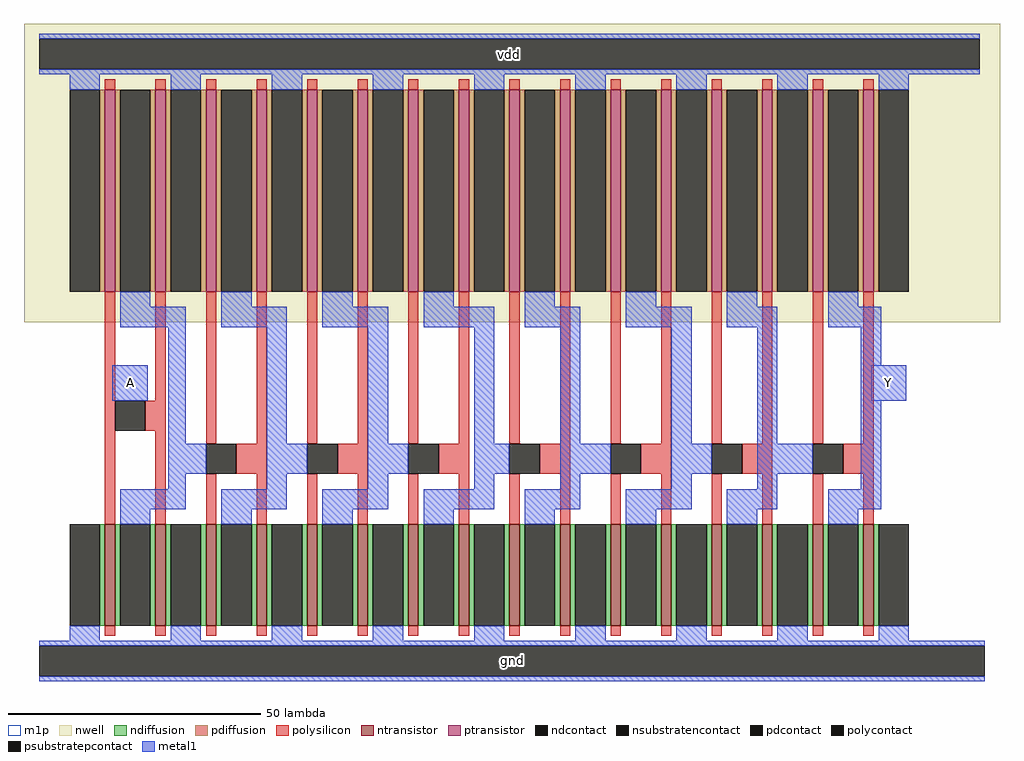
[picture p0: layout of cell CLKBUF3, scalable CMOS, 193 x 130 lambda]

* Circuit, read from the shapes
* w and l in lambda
.subckt CLKBUF3 A Y vdd gnd
M1 n1 A gnd gnd nfet w=20 l=2 m=2
M2 n2 n1 gnd gnd nfet w=20 l=2 m=2
M3 n3 n2 gnd gnd nfet w=20 l=2 m=2
M4 n4 n3 gnd gnd nfet w=20 l=2 m=2
M5 n5 n4 gnd gnd nfet w=20 l=2 m=2
M6 n6 n5 gnd gnd nfet w=20 l=2 m=2
M7 n7 n6 gnd gnd nfet w=20 l=2 m=2
M8 Y n7 gnd gnd nfet w=20 l=2 m=2
M9 n1 A vdd vdd pfet w=40 l=2 m=2
M10 n2 n1 vdd vdd pfet w=40 l=2 m=2
M11 n3 n2 vdd vdd pfet w=40 l=2 m=2
M12 n4 n3 vdd vdd pfet w=40 l=2 m=2
M13 n5 n4 vdd vdd pfet w=40 l=2 m=2
M14 n6 n5 vdd vdd pfet w=40 l=2 m=2
M15 n7 n6 vdd vdd pfet w=40 l=2 m=2
M16 Y n7 vdd vdd pfet w=40 l=2 m=2
.ends

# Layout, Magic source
magic
tech scmos
magscale 1 2
<< nwell >>
rect -12 134 374 252
<< ntransistor >>
rect 20 14 24 54
rect 40 14 44 54
rect 60 14 64 54
rect 80 14 84 54
rect 100 14 104 54
rect 120 14 124 54
rect 140 14 144 54
rect 160 14 164 54
rect 180 14 184 54
rect 200 14 204 54
rect 220 14 224 54
rect 240 14 244 54
rect 260 14 264 54
rect 280 14 284 54
rect 300 14 304 54
rect 320 14 324 54
<< ptransistor >>
rect 20 146 24 226
rect 40 146 44 226
rect 60 146 64 226
rect 80 146 84 226
rect 100 146 104 226
rect 120 146 124 226
rect 140 146 144 226
rect 160 146 164 226
rect 180 146 184 226
rect 200 146 204 226
rect 220 146 224 226
rect 240 146 244 226
rect 260 146 264 226
rect 280 146 284 226
rect 300 146 304 226
rect 320 146 324 226
<< ndiffusion >>
rect 18 14 20 54
rect 24 14 26 54
rect 38 14 40 54
rect 44 14 46 54
rect 58 14 60 54
rect 64 14 66 54
rect 78 14 80 54
rect 84 14 86 54
rect 98 14 100 54
rect 104 14 106 54
rect 118 14 120 54
rect 124 14 126 54
rect 138 14 140 54
rect 144 14 146 54
rect 158 14 160 54
rect 164 14 166 54
rect 178 14 180 54
rect 184 14 186 54
rect 198 14 200 54
rect 204 14 206 54
rect 218 14 220 54
rect 224 14 226 54
rect 238 14 240 54
rect 244 14 246 54
rect 258 14 260 54
rect 264 14 266 54
rect 278 14 280 54
rect 284 14 286 54
rect 298 14 300 54
rect 304 14 306 54
rect 318 14 320 54
rect 324 14 326 54
<< pdiffusion >>
rect 18 146 20 226
rect 24 146 26 226
rect 38 146 40 226
rect 44 146 46 226
rect 58 146 60 226
rect 64 146 66 226
rect 78 146 80 226
rect 84 146 86 226
rect 98 146 100 226
rect 104 146 106 226
rect 118 146 120 226
rect 124 146 126 226
rect 138 146 140 226
rect 144 146 146 226
rect 158 146 160 226
rect 164 146 166 226
rect 178 146 180 226
rect 184 146 186 226
rect 198 146 200 226
rect 204 146 206 226
rect 218 146 220 226
rect 224 146 226 226
rect 238 146 240 226
rect 244 146 246 226
rect 258 146 260 226
rect 264 146 266 226
rect 278 146 280 226
rect 284 146 286 226
rect 298 146 300 226
rect 304 146 306 226
rect 318 146 320 226
rect 324 146 326 226
<< ndcontact >>
rect 6 14 18 54
rect 26 14 38 54
rect 46 14 58 54
rect 66 14 78 54
rect 86 14 98 54
rect 106 14 118 54
rect 126 14 138 54
rect 146 14 158 54
rect 166 14 178 54
rect 186 14 198 54
rect 206 14 218 54
rect 226 14 238 54
rect 246 14 258 54
rect 266 14 278 54
rect 286 14 298 54
rect 306 14 318 54
rect 326 14 338 54
<< pdcontact >>
rect 6 146 18 226
rect 26 146 38 226
rect 46 146 58 226
rect 66 146 78 226
rect 86 146 98 226
rect 106 146 118 226
rect 126 146 138 226
rect 146 146 158 226
rect 166 146 178 226
rect 186 146 198 226
rect 206 146 218 226
rect 226 146 238 226
rect 246 146 258 226
rect 266 146 278 226
rect 286 146 298 226
rect 306 146 318 226
rect 326 146 338 226
<< psubstratepcontact >>
rect -6 -6 368 6
<< nsubstratencontact >>
rect -6 234 366 246
<< polysilicon >>
rect 20 226 24 230
rect 40 226 44 230
rect 60 226 64 230
rect 80 226 84 230
rect 100 226 104 230
rect 120 226 124 230
rect 140 226 144 230
rect 160 226 164 230
rect 180 226 184 230
rect 200 226 204 230
rect 220 226 224 230
rect 240 226 244 230
rect 260 226 264 230
rect 280 226 284 230
rect 300 226 304 230
rect 320 226 324 230
rect 20 54 24 146
rect 40 103 44 146
rect 36 91 44 103
rect 40 54 44 91
rect 60 86 64 146
rect 80 86 84 146
rect 72 74 84 86
rect 60 54 64 74
rect 80 54 84 74
rect 100 86 104 146
rect 120 86 124 146
rect 112 74 124 86
rect 100 54 104 74
rect 120 54 124 74
rect 140 86 144 146
rect 160 86 164 146
rect 152 74 164 86
rect 140 54 144 74
rect 160 54 164 74
rect 180 86 184 146
rect 200 86 204 146
rect 192 74 204 86
rect 180 54 184 74
rect 200 54 204 74
rect 220 86 224 146
rect 240 86 244 146
rect 232 74 244 86
rect 220 54 224 74
rect 240 54 244 74
rect 260 86 264 146
rect 280 86 284 146
rect 272 74 284 86
rect 260 54 264 74
rect 280 54 284 74
rect 300 86 304 146
rect 320 86 324 146
rect 312 74 324 86
rect 300 54 304 74
rect 320 54 324 74
rect 20 10 24 14
rect 40 10 44 14
rect 60 10 64 14
rect 80 10 84 14
rect 100 10 104 14
rect 120 10 124 14
rect 140 10 144 14
rect 160 10 164 14
rect 180 10 184 14
rect 200 10 204 14
rect 220 10 224 14
rect 240 10 244 14
rect 260 10 264 14
rect 280 10 284 14
rect 300 10 304 14
rect 320 10 324 14
<< polycontact >>
rect 24 91 36 103
rect 60 74 72 86
rect 100 74 112 86
rect 140 74 152 86
rect 180 74 192 86
rect 220 74 232 86
rect 260 74 272 86
rect 300 74 312 86
<< metal1 >>
rect -6 246 366 248
rect -6 232 366 234
rect 6 226 18 232
rect 46 226 58 232
rect 86 226 98 232
rect 126 226 138 232
rect 166 226 178 232
rect 206 226 218 232
rect 246 226 258 232
rect 286 226 298 232
rect 326 226 338 232
rect 26 140 38 146
rect 66 140 78 146
rect 106 140 118 146
rect 146 140 158 146
rect 186 140 198 146
rect 226 140 238 146
rect 266 140 278 146
rect 306 140 318 146
rect 26 132 52 140
rect 66 132 92 140
rect 106 132 132 140
rect 146 132 174 140
rect 186 132 208 140
rect 226 132 252 140
rect 266 132 286 140
rect 306 132 327 140
rect 23 103 37 117
rect 45 86 52 132
rect 84 86 92 132
rect 124 86 132 132
rect 166 86 174 132
rect 200 86 208 132
rect 244 86 252 132
rect 278 86 286 132
rect 319 117 327 132
rect 319 103 337 117
rect 45 74 60 86
rect 84 74 100 86
rect 124 74 140 86
rect 166 74 180 86
rect 200 74 220 86
rect 244 74 260 86
rect 278 74 300 86
rect 45 68 52 74
rect 84 68 92 74
rect 124 68 132 74
rect 166 68 174 74
rect 200 68 208 74
rect 244 68 252 74
rect 278 68 286 74
rect 319 68 327 103
rect 26 60 52 68
rect 66 60 92 68
rect 106 60 132 68
rect 146 60 174 68
rect 186 60 208 68
rect 226 60 252 68
rect 266 60 286 68
rect 306 60 327 68
rect 26 54 38 60
rect 66 54 78 60
rect 106 54 118 60
rect 146 54 158 60
rect 186 54 198 60
rect 226 54 238 60
rect 266 54 278 60
rect 306 54 318 60
rect 6 8 18 14
rect 46 8 58 14
rect 86 8 98 14
rect 126 8 138 14
rect 166 8 178 14
rect 206 8 218 14
rect 246 8 258 14
rect 286 8 298 14
rect 326 8 338 14
rect -6 6 368 8
rect -6 -8 368 -6
<< m1p >>
rect 23 103 37 117
rect 323 103 337 117
<< labels >>
rlabel metal1 23 103 37 117 0 A
port 0 nsew signal input
rlabel metal1 323 103 337 117 0 Y
port 1 nsew signal output
rlabel metal1 -6 -8 368 8 0 gnd
port 3 nsew ground bidirectional abutment
rlabel metal1 -6 232 366 248 0 vdd
port 2 nsew power bidirectional abutment
<< properties >>
string FIXED_BBOX 0 0 360 240
string LEFclass CORE
string LEFsite core
string LEFsymmetry X Y
<< end >>
